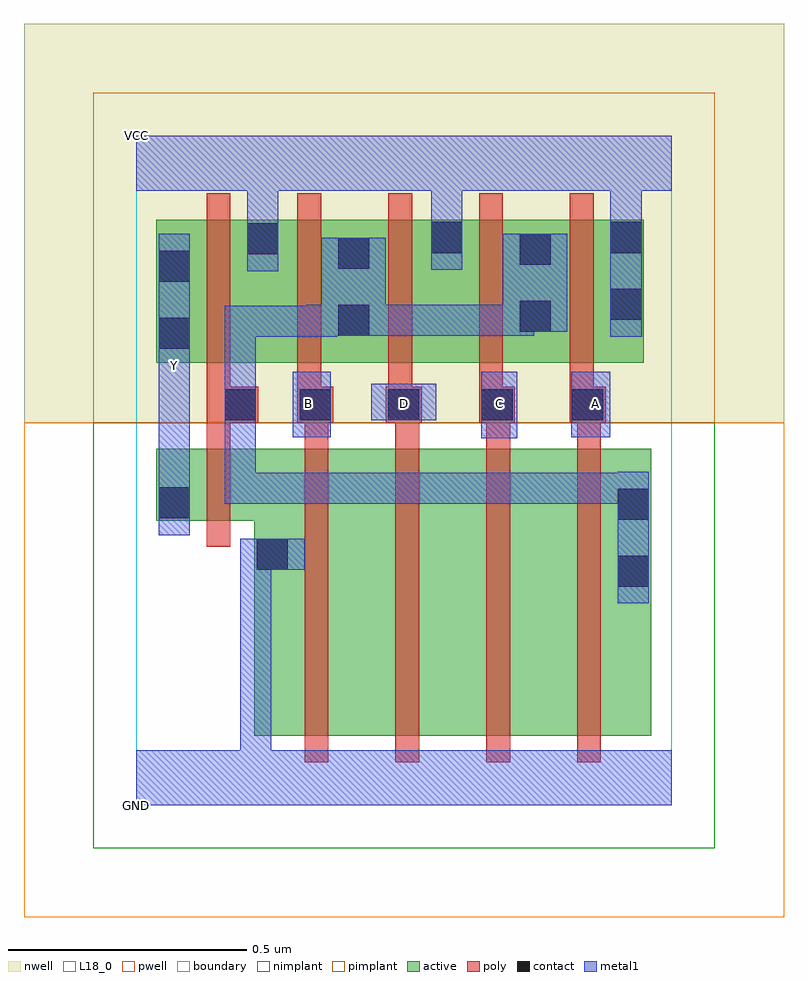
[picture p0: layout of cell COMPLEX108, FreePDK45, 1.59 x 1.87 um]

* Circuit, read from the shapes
.subckt COMPLEX108 A B C D GND VCC Y
M1 GND n1 Y VSUBS nfet w=0.15u l=0.05u
M2 n2 B GND VSUBS nfet w=0.6u l=0.05u
M3 n3 D n2 VSUBS nfet w=0.6u l=0.05u
M4 n4 C n3 VSUBS nfet w=0.6u l=0.05u
M5 n1 A n4 VSUBS nfet w=0.6u l=0.05u
M6 VCC n1 Y n5 pfet w=0.3u l=0.05u
M7 n1 B VCC n5 pfet w=0.3u l=0.05u
M8 VCC D n1 n5 pfet w=0.3u l=0.05u
M9 n1 C VCC n5 pfet w=0.3u l=0.05u
M10 VCC A n1 n5 pfet w=0.3u l=0.05u
.ends

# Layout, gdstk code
import gdstk
lib = gdstk.Library(unit=1e-6, precision=1e-09)
def R(c, l, rs):  # rectangles x0, y0, x1, y1
    for r in rs: c.add(gdstk.rectangle(r[:2], r[2:], *l))
def A(c, l, x, y, w, h, nx, ny, dx, dy):  # array of equal rectangles
    R(c, l, [(x+i*dx, y+j*dy, x+i*dx+w, y+j*dy+h) for i in range(nx) for j in range(ny)])
active = (1, 0)
pwell = (2, 0)
nwell = (3, 0)
nimplant = (4, 0)
pimplant = (5, 0)
poly = (9, 0)
contact = (10, 0)
metal1 = (11, 0)
L18_0 = (18, 0)
boundary = (235, 0)

complex108 = lib.new_cell('COMPLEX108')
R(complex108, active, [(0.247,0.145,0.472,0.745), (0.472,0.145,0.662,0.745), (0.662,0.145,0.852,0.745), (0.852,0.145,1.077,0.745), (1.002,0.145,1.077,0.745), (0.247,0.487,0.322,0.697), (0.042,0.595,0.322,0.745), (0.042,0.595,0.117,0.745), (0.042,0.925,0.302,1.225), (0.042,0.925,0.117,1.167), (0.227,0.925,0.492,1.225), (0.417,0.925,0.492,1.2), (0.417,0.925,0.687,1.225), (0.612,0.925,0.872,1.225), (0.797,0.925,1.062,1.225), (0.797,0.925,0.872,1.2), (0.987,0.925,1.062,1.225), (0.227,1.002,0.302,1.225), (0.612,1.002,0.687,1.225)])
R(complex108, pwell, [(-0.235,-0.235,1.355,0.8)])
R(complex108, nwell, [(-0.235,0.8,1.355,1.635)])
R(complex108, nimplant, [(-0.09,-0.09,1.21,0.8)])
R(complex108, pimplant, [(-0.09,0.8,1.21,1.49)])
A(complex108, poly, 0.352, 0.09, 0.05, 0.71, 4, 1, 0.19, 0)
A(complex108, poly, 0.352, 0.75, 0.05, 0.1, 4, 1, 0.19, 0)
A(complex108, poly, 0.147, 0.825, 0.05, 0.095, 5, 1, 0.19, 0)
A(complex108, poly, 0.147, 0.87, 0.05, 0.41, 5, 1, 0.19, 0)
R(complex108, poly, [(0.147,0.54,0.197,0.8), (0.147,0.75,0.197,0.85), (0.147,0.8,0.255,0.875), (0.337,0.8,0.412,0.875), (0.522,0.8,0.597,0.875), (0.717,0.8,0.792,0.875), (0.907,0.8,0.982,0.875)])
R(complex108, contact, [(1.007,0.457,1.072,0.522), (0.252,0.492,0.317,0.557), (1.007,0.597,1.072,0.662), (0.047,0.6,0.112,0.665), (0.185,0.805,0.25,0.87), (0.342,0.805,0.407,0.87), (0.527,0.805,0.592,0.87), (0.722,0.805,0.787,0.87), (0.912,0.805,0.977,0.87), (0.047,0.955,0.112,1.02), (0.422,0.982,0.487,1.047), (0.802,0.99,0.867,1.055), (0.992,1.015,1.057,1.08), (0.047,1.095,0.112,1.16), (0.422,1.122,0.487,1.187), (0.802,1.13,0.867,1.195), (0.232,1.152,0.297,1.217), (0.617,1.155,0.682,1.22), (0.992,1.155,1.057,1.22)])
R(complex108, metal1, [(0,0,1.12,0.115), (0.217,0.05,0.282,0.115), (0.217,0.05,0.282,0.115), (0.217,0.05,0.282,0.557), (1.007,0.422,1.072,0.697), (0.217,0.492,0.352,0.557), (0.047,0.565,0.112,0.7), (0.185,0.63,0.25,0.695), (0.185,0.63,0.25,0.905), (0.185,0.63,0.42,0.695), (0.355,0.63,0.42,0.695), (0.355,0.63,0.42,0.695), (0.355,0.63,0.42,0.695), (0.355,0.63,0.65,0.695), (0.585,0.63,0.65,0.695), (0.585,0.63,0.66,0.695), (0.595,0.63,0.66,0.695), (0.595,0.63,0.835,0.695), (0.77,0.63,0.835,0.695), (0.77,0.63,0.835,0.695), (0.77,0.63,0.835,0.695), (0.77,0.63,1.072,0.695), (1.007,0.63,1.072,0.695), (1.007,0.63,1.072,0.695), (0.047,0.635,0.112,0.917), (0.722,0.767,0.797,0.907), (0.185,0.77,0.25,0.905), (0.327,0.77,0.407,0.907), (0.91,0.77,0.992,0.907), (0.492,0.805,0.627,0.882), (0.185,0.84,0.25,0.905), (0.185,0.84,0.25,0.905), (0.185,0.84,0.25,1.045), (0.047,0.852,0.112,0.987), (0.047,0.92,0.112,1.195), (0.047,0.922,0.112,0.987), (0.185,0.98,0.25,1.045), (0.185,0.98,0.42,1.045), (0.355,0.98,0.42,1.047), (0.992,0.98,1.057,1.255), (0.355,0.982,0.452,1.047), (0.387,0.982,0.522,1.187), (0.457,0.982,0.65,1.047), (0.585,0.982,0.65,1.047), (0.585,0.982,0.66,1.047), (0.595,0.982,0.66,1.047), (0.595,0.982,0.832,1.047), (0.767,0.982,0.832,1.055), (0.767,0.99,0.832,1.055), (0.767,0.99,0.902,1.195), (0.232,1.117,0.297,1.252), (0.617,1.12,0.682,1.255), (0.232,1.187,0.297,1.252), (0.232,1.187,0.297,1.252), (0.232,1.187,0.297,1.35), (0.617,1.19,0.682,1.35), (0.617,1.19,0.682,1.255), (0.617,1.19,0.682,1.255), (0.992,1.19,1.057,1.35), (0,1.285,1.12,1.4), (0.992,1.285,1.057,1.35), (0.992,1.285,1.057,1.35)])
A(complex108, L18_0, 0.327, 0.807, 0.065, 0.065, 4, 1, 0.2, 0)
R(complex108, L18_0, [(0,0,1.12,0.115), (0.217,0.05,0.282,0.115), (0.217,0.05,0.282,0.115), (0.217,0.05,0.282,0.557), (0.217,0.492,0.352,0.557), (0.047,0.565,0.112,0.7), (0.047,0.635,0.112,0.917), (0.722,0.767,0.797,0.907), (0.327,0.77,0.407,0.907), (0.91,0.77,0.992,0.907), (0.492,0.805,0.627,0.882), (0.047,0.852,0.112,0.987), (0.047,0.887,0.112,0.952), (0.047,0.92,0.112,1.195), (0.047,0.922,0.112,0.987), (0.992,0.98,1.057,1.255), (0.232,1.117,0.297,1.252), (0.617,1.12,0.682,1.255), (0.232,1.187,0.297,1.252), (0.232,1.187,0.297,1.252), (0.232,1.187,0.297,1.35), (0.617,1.19,0.682,1.255), (0.617,1.19,0.682,1.255), (0.617,1.19,0.682,1.35), (0.992,1.19,1.057,1.35), (0,1.285,1.12,1.4), (0.992,1.285,1.057,1.35), (0.992,1.285,1.057,1.35)])
R(complex108, boundary, [(0,0,1.12,1.4)])
complex108.add(gdstk.Label('A', (0.96,0.84), layer=11, texttype=0))
complex108.add(gdstk.Label('B', (0.36,0.84), layer=11, texttype=0))
complex108.add(gdstk.Label('C', (0.76,0.84), layer=11, texttype=0))
complex108.add(gdstk.Label('D', (0.56,0.84), layer=11, texttype=0))
complex108.add(gdstk.Label('Y', (0.08,0.92), layer=11, texttype=0))
complex108.add(gdstk.Label('VCC', (0,1.4), layer=11, texttype=0))
complex108.add(gdstk.Label('GND', (0,0), layer=11, texttype=0))

lib.write_gds('COMPLEX108.gds')
